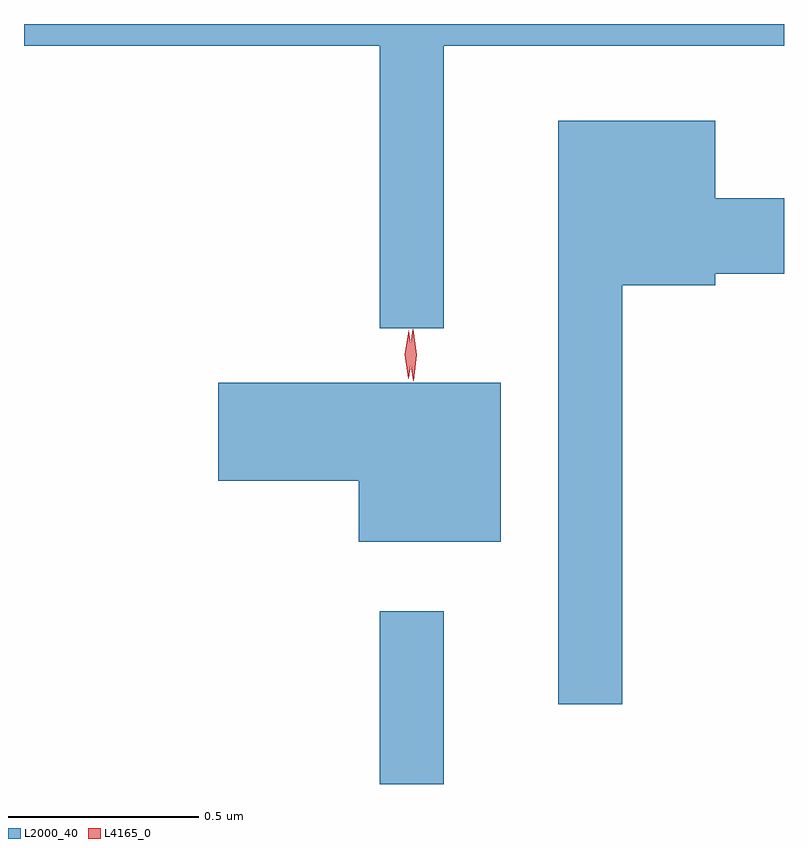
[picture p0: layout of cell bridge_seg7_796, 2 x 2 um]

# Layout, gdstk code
import gdstk
lib = gdstk.Library(unit=1e-6, precision=1e-09)
def R(c, l, rs):  # rectangles x0, y0, x1, y1
    for r in rs: c.add(gdstk.rectangle(r[:2], r[2:], *l))
def P(c, l, *ps):  # polygons
    for p in ps: c.add(gdstk.Polygon(p, *l))
L2000_40 = (2000, 40)
L4165_0 = (4165, 0)

bridge_seg7_796 = lib.new_cell('bridge_seg7_796')
R(bridge_seg7_796, L2000_40, [(246.061,1743.453,246.229,1743.908)])
P(bridge_seg7_796, L2000_40, [(246.229,1745.396),(247.125,1745.396),(247.125,1745.453),(245.125,1745.453),(245.125,1745.396),(246.061,1745.396),(246.061,1744.653),(246.229,1744.653)],
  [(246.699,1744.766),(246.944,1744.766),(246.944,1744.796),(247.125,1744.796),(247.125,1744.994),(246.944,1744.994),(246.944,1745.199),(246.531,1745.199),(246.531,1743.663),(246.699,1743.663)],
  [(246.379,1744.509),(245.636,1744.509),(245.636,1744.251),(246.006,1744.251),(246.006,1744.091),(246.379,1744.091)])
P(bridge_seg7_796, L4165_0, [(246.136,1744.52),(246.136,1744.521),(246.127,1744.584),(246.138,1744.646),(246.138,1744.647),(246.138,1744.646),(246.147,1744.583),(246.137,1744.521)],
  [(246.149,1744.514),(246.139,1744.582),(246.148,1744.65),(246.148,1744.65),(246.149,1744.65),(246.159,1744.582),(246.15,1744.514),(246.15,1744.514)])

lib.write_gds('bridge_seg7_796.gds')
